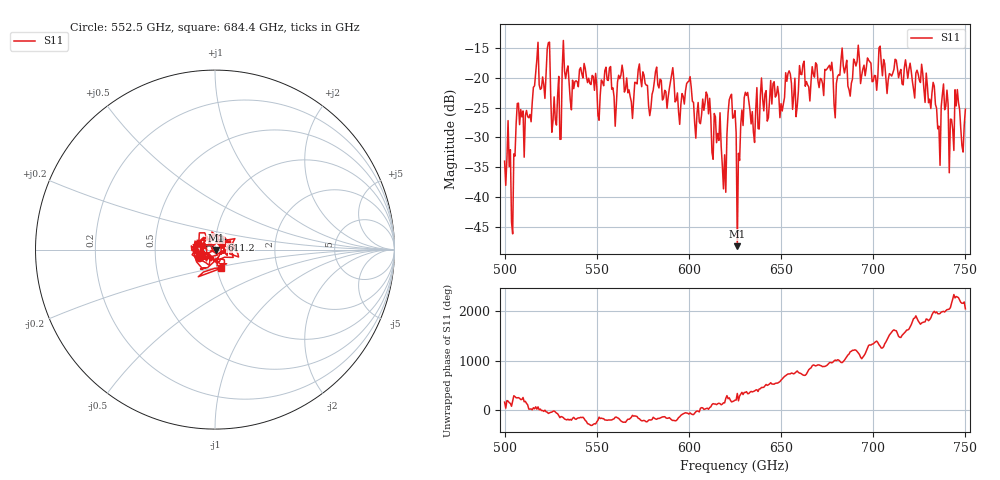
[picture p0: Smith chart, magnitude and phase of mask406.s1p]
!Created with skrf (http://scikit-rf.org).
# GHz S MA R 50.0
!freq magS11 angS11
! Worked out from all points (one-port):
!   401 points, 500 GHz to 750 GHz, reference 50 ohm
!   lowest |S11| = -48.2 dB at 626.2 GHz (marker M1), VSWR 1.01, Z = 50.4 - j0.139 ohm
!   |S11| at or under -10 dB: start of sweep to end of sweep
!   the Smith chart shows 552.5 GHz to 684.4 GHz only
!   S11 on the Smith chart (normalised r, x): 552.5 GHz: 0.84, -0.07; 611.2 GHz: 1.07, +0.12; 684.4 GHz: 1.04, -0.22
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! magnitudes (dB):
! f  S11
! 500 GHz  -34.0
! 504.4 GHz  -46.2
! 507.5 GHz  -24.2
! 511.9 GHz  -25.5
! 516.9 GHz  -19.2
! 523.8 GHz  -14.1
! 526.9 GHz  -23.2
! 531.2 GHz  -18.6
! 552.5 GHz  -20.4
! 562.5 GHz  -20.1
! 593.8 GHz  -22.5
! 600 GHz  -20.6
! 611.2 GHz  -23.4
! 618.8 GHz  -38.6
! 622.5 GHz  -23.1
! 625 GHz  -25.5
! 626.2 GHz  -48.2
! 631.2 GHz  -22.9
! 635 GHz  -29.1
! 656.2 GHz  -25.3
! 684.4 GHz  -19.2
! 687.5 GHz  -23.1
! 718.8 GHz  -20.1
! 735 GHz  -28.6
! 738.8 GHz  -25.4
! 742.5 GHz  -27.0
! 745.6 GHz  -22.0
! 750 GHz  -25.3
